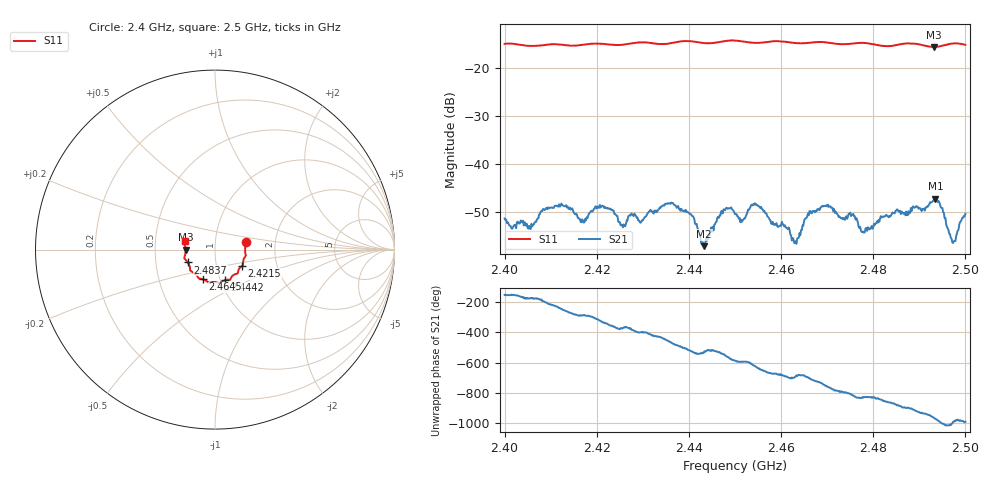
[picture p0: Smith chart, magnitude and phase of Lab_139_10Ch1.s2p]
# Hz S RI R 50
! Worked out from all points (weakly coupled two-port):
!   601 points, 2.4 GHz to 2.5 GHz, reference 50 ohm
!   highest |S21| = -47.26 dB at 2.4935 GHz (marker M1); lowest = -57.1 dB at 2.4433 GHz (marker M2)
!   lowest |S11| = -15.7 dB at 2.4932 GHz (marker M3), VSWR 1.39, Z = 35.9 - j0.0603 ohm
!   |S11| at or under -10 dB: start of sweep to end of sweep
!   S12 and S22 are empty: the file has one direction only
!   S11 on the Smith chart (normalised r, x): 2.4 GHz: 1.41, +0.12; 2.4215 GHz: 1.33, -0.25; 2.4442 GHz: 1.05, -0.37; 2.4645 GHz: 0.83, -0.29; 2.4837 GHz: 0.73, -0.11; 2.5 GHz: 0.71, +0.07
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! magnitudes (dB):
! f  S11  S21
! 2.4 GHz  -15.1  -51.4
! 2.4055 GHz  -15.5  -53.5
! 2.4123 GHz  -15.2  -48.3
! 2.4167 GHz  -15.3  -52.2
! 2.4215 GHz  -15.1  -48.8
! 2.4257 GHz  -15.3  -53.2
! 2.4333 GHz  -15.1  -49.5
! 2.4398 GHz  -14.5  -50.1
! 2.4433 GHz  -14.9  -57.1
! 2.4442 GHz  -15.0  -55.7
! 2.45 GHz  -14.4  -50.5
! 2.4547 GHz  -14.9  -48.5
! 2.4628 GHz  -14.9  -56.4
! 2.4645 GHz  -15.0  -53.8
! 2.4667 GHz  -14.8  -50.3
! 2.4778 GHz  -14.9  -54.1
! 2.4833 GHz  -15.6  -51.1
! 2.4837 GHz  -15.5  -51.0
! 2.4932 GHz  -15.7  -47.5
! 2.4935 GHz  -15.7  -47.3
! 2.4973 GHz  -15.0  -56.5
! 2.5 GHz  -15.3  -50.4
